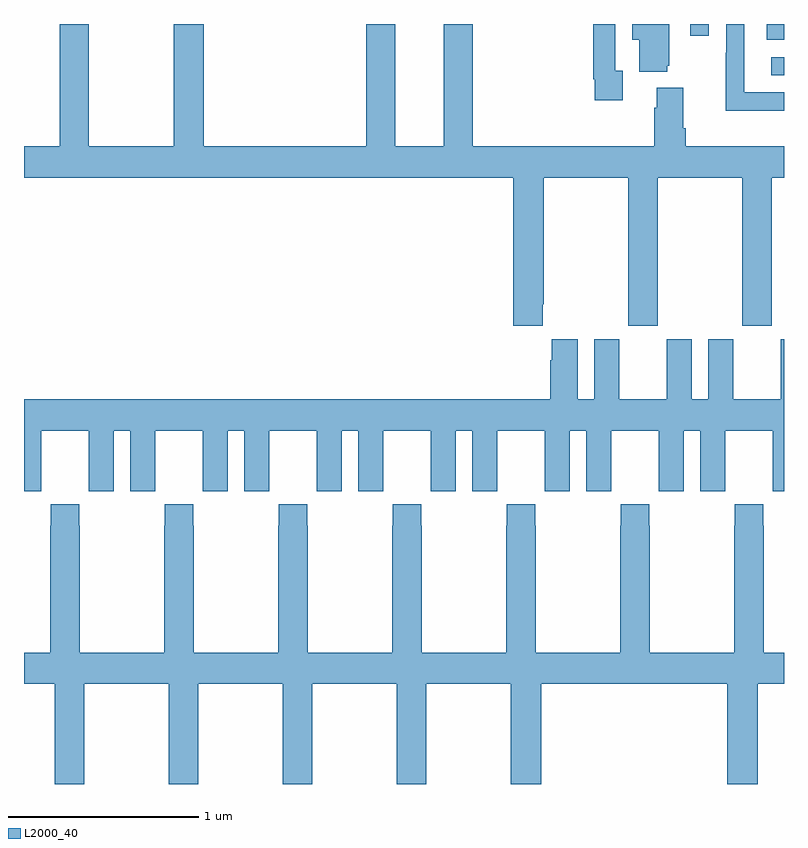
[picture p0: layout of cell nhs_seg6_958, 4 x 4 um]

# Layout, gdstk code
import gdstk
lib = gdstk.Library(unit=1e-6, precision=1e-09)
def R(c, l, rs):  # rectangles x0, y0, x1, y1
    for r in rs: c.add(gdstk.rectangle(r[:2], r[2:], *l))
def P(c, l, *ps):  # polygons
    for p in ps: c.add(gdstk.Polygon(p, *l))
L2000_40 = (2000, 40)

nhs_seg6_958 = lib.new_cell('nhs_seg6_958')
R(nhs_seg6_958, L2000_40, [(174.933,925.23,175,925.326), (174.908,925.418,175,925.5), (174.507,925.437,174.603,925.5)])
P(nhs_seg6_958, L2000_40, [(173.731,924.025),(173.736,924.025),(173.736,924.692),(174.181,924.692),(174.181,923.913),(174.336,923.913),(174.336,924.692),(174.781,924.692),(174.781,923.913),(174.936,923.913),(174.936,924.692),(175,924.692),(175,924.856),(174.482,924.856),(174.482,924.952),(174.469,924.952),(174.469,925.165),(174.329,925.165),(174.329,925.058),(174.317,925.058),(174.317,924.856),(173.363,924.856),(173.363,925.5),(173.21,925.5),(173.21,924.856),(172.954,924.856),(172.954,925.5),(172.802,925.5),(172.802,924.856),(171.947,924.856),(171.947,925.5),(171.787,925.5),(171.787,924.856),(171.342,924.856),(171.342,925.5),(171.187,925.5),(171.187,924.856),(171,924.856),(171,924.692),(173.576,924.692),(173.576,923.913),(173.731,923.913)],
  [(174.151,925.254),(174.111,925.254),(174.111,925.5),(173.995,925.5),(173.995,925.21),(174.003,925.21),(174.003,925.098),(174.151,925.098)],
  [(174.386,925.281),(174.397,925.281),(174.397,925.5),(174.2,925.5),(174.2,925.418),(174.239,925.418),(174.239,925.25),(174.386,925.25)],
  [(175,925.14),(174.792,925.14),(174.792,925.5),(174.696,925.5),(174.696,925.349),(174.694,925.349),(174.694,925.043),(175,925.043)],
  [(174.133,923.842),(174.002,923.842),(174.002,923.524),(173.914,923.524),(173.914,923.842),(173.777,923.842),(173.777,923.729),(173.771,923.729),(173.771,923.524),(171,923.524),(171,923.04),(171.09,923.04),(171.09,923.152),(171.091,923.152),(171.091,923.36),(171.341,923.36),(171.341,923.152),(171.342,923.152),(171.342,923.04),(171.472,923.04),(171.472,923.36),(171.56,923.36),(171.56,923.04),(171.69,923.04),(171.69,923.152),(171.691,923.152),(171.691,923.36),(171.941,923.36),(171.941,923.152),(171.942,923.152),(171.942,923.04),(172.072,923.04),(172.072,923.36),(172.16,923.36),(172.16,923.04),(172.29,923.04),(172.29,923.152),(172.291,923.152),(172.291,923.36),(172.541,923.36),(172.541,923.152),(172.542,923.152),(172.542,923.04),(172.672,923.04),(172.672,923.36),(172.76,923.36),(172.76,923.04),(172.89,923.04),(172.89,923.152),(172.891,923.152),(172.891,923.36),(173.141,923.36),(173.141,923.152),(173.142,923.152),(173.142,923.04),(173.272,923.04),(173.272,923.36),(173.36,923.36),(173.36,923.04),(173.49,923.04),(173.49,923.152),(173.491,923.152),(173.491,923.36),(173.741,923.36),(173.741,923.152),(173.742,923.152),(173.742,923.04),(173.872,923.04),(173.872,923.36),(173.96,923.36),(173.96,923.04),(174.09,923.04),(174.09,923.152),(174.091,923.152),(174.091,923.36),(174.341,923.36),(174.341,923.152),(174.342,923.152),(174.342,923.04),(174.472,923.04),(174.472,923.36),(174.56,923.36),(174.56,923.04),(174.69,923.04),(174.69,923.152),(174.691,923.152),(174.691,923.36),(174.941,923.36),(174.941,923.152),(174.942,923.152),(174.942,923.04),(175,923.04),(175,923.842),(174.983,923.842),(174.983,923.524),(174.733,923.524),(174.733,923.842),(174.602,923.842),(174.602,923.524),(174.514,923.524),(174.514,923.842),(174.383,923.842),(174.383,923.524),(174.133,923.524)],
  [(173.563,921.5),(173.723,921.5),(173.723,922.028),(174.701,922.028),(174.701,921.5),(174.861,921.5),(174.861,922.028),(175,922.028),(175,922.192),(174.894,922.192),(174.894,922.859),(174.891,922.859),(174.891,922.972),(174.741,922.972),(174.741,922.859),(174.739,922.859),(174.739,922.192),(174.294,922.192),(174.294,922.859),(174.291,922.859),(174.291,922.972),(174.141,922.972),(174.141,922.859),(174.139,922.859),(174.139,922.192),(173.694,922.192),(173.694,922.859),(173.691,922.859),(173.691,922.972),(173.541,922.972),(173.541,922.859),(173.539,922.859),(173.539,922.192),(173.094,922.192),(173.094,922.859),(173.091,922.859),(173.091,922.972),(172.941,922.972),(172.941,922.859),(172.939,922.859),(172.939,922.192),(172.494,922.192),(172.494,922.859),(172.491,922.859),(172.491,922.972),(172.341,922.972),(172.341,922.859),(172.339,922.859),(172.339,922.192),(171.894,922.192),(171.894,922.859),(171.891,922.859),(171.891,922.972),(171.741,922.972),(171.741,922.859),(171.739,922.859),(171.739,922.192),(171.294,922.192),(171.294,922.859),(171.291,922.859),(171.291,922.972),(171.141,922.972),(171.141,922.859),(171.139,922.859),(171.139,922.192),(171,922.192),(171,922.028),(171.163,922.028),(171.163,921.5),(171.318,921.5),(171.318,922.028),(171.763,922.028),(171.763,921.5),(171.918,921.5),(171.918,922.028),(172.363,922.028),(172.363,921.5),(172.518,921.5),(172.518,922.028),(172.963,922.028),(172.963,921.5),(173.118,921.5),(173.118,922.028),(173.563,922.028)])

lib.write_gds('nhs_seg6_958.gds')
